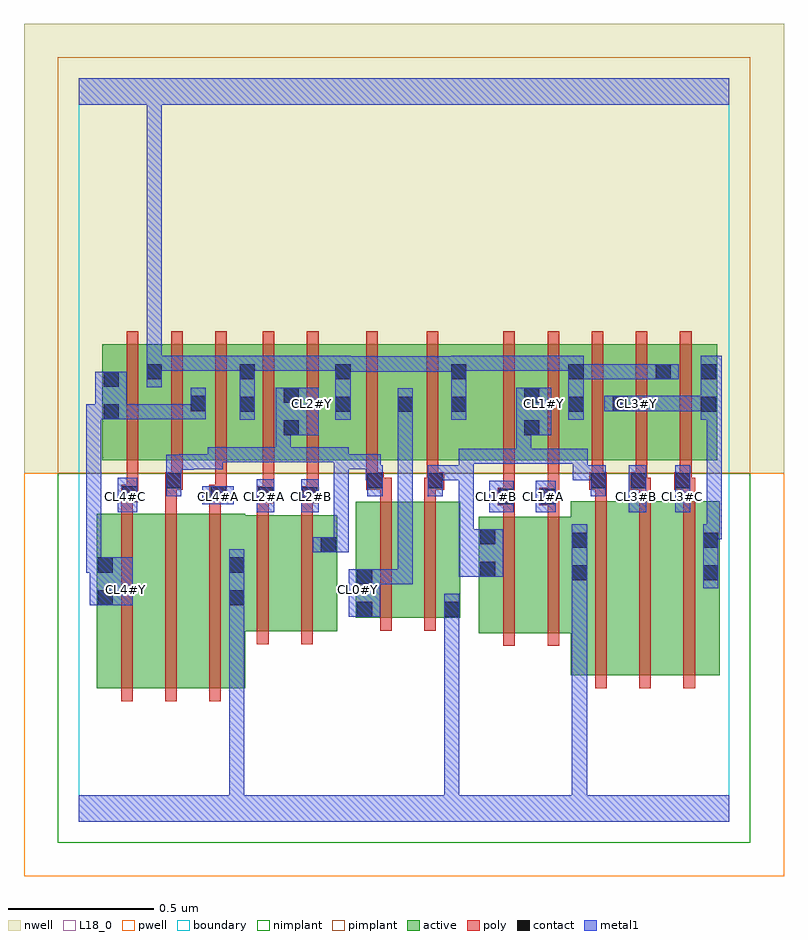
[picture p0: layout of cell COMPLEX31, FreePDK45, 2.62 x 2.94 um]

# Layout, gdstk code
import gdstk
lib = gdstk.Library(unit=1e-6, precision=1e-09)
def R(c, l, rs):  # rectangles x0, y0, x1, y1
    for r in rs: c.add(gdstk.rectangle(r[:2], r[2:], *l))
def A(c, l, x, y, w, h, nx, ny, dx, dy):  # array of equal rectangles
    R(c, l, [(x+i*dx, y+j*dy, x+i*dx+w, y+j*dy+h) for i in range(nx) for j in range(ny)])
active = (1, 0)
pwell = (2, 0)
nwell = (3, 0)
nimplant = (4, 0)
pimplant = (5, 0)
poly = (9, 0)
contact = (10, 0)
metal1 = (11, 0)
L18_0 = (18, 0)
boundary = (235, 0)

complex31 = lib.new_cell('COMPLEX31')
A(complex31, active, 1.53, 1.244, 0.06, 0.4, 3, 1, 0.152, 0)
R(complex31, active, [(0.062,0.46,0.242,1.06), (0.242,0.46,0.394,1.06), (0.394,0.46,0.574,1.06), (1.694,0.504,1.874,1.104), (1.694,0.504,1.754,1.05), (1.874,0.504,2.026,1.104), (2.026,0.504,2.206,1.104), (2.146,0.504,2.206,1.104), (0.062,0.556,0.122,1.06), (0.514,0.596,0.574,1), (1.378,0.65,1.558,1.05), (1.378,0.65,1.438,1.05), (1.558,0.65,1.754,1.05), (0.514,0.656,0.71,1.056), (0.71,0.656,0.89,1.056), (0.954,0.702,1.134,1.102), (0.954,0.702,1.014,1.102), (1.134,0.702,1.314,1.102), (1.254,0.702,1.314,1.102), (0.83,0.756,0.89,1.056), (0.082,1.244,0.142,1.644), (0.082,1.244,0.29,1.644), (0.23,1.244,0.29,1.644), (0.23,1.244,0.442,1.644), (0.382,1.244,0.442,1.644), (0.382,1.244,0.61,1.644), (0.55,1.244,0.61,1.644), (0.55,1.244,0.762,1.644), (0.702,1.244,0.762,1.644), (0.702,1.244,0.94,1.644), (0.88,1.244,0.94,1.644), (0.88,1.244,1.154,1.644), (1.094,1.244,1.154,1.644), (1.094,1.244,1.338,1.644), (1.278,1.244,1.338,1.644), (1.278,1.244,1.59,1.644), (1.53,1.244,1.742,1.644), (1.682,1.244,1.894,1.644), (1.834,1.244,2.042,1.644), (1.982,1.244,2.042,1.644), (1.982,1.244,2.198,1.644), (2.138,1.244,2.198,1.644)])
R(complex31, pwell, [(-0.188,-0.188,2.428,1.2)])
R(complex31, nwell, [(-0.188,1.2,2.428,2.748)])
R(complex31, nimplant, [(-0.072,-0.072,2.312,1.2)])
R(complex31, pimplant, [(-0.072,1.2,2.312,2.632)])
A(complex31, poly, 0.146, 0.416, 0.04, 0.688, 3, 1, 0.152, 0)
A(complex31, poly, 1.778, 0.46, 0.04, 0.688, 3, 1, 0.152, 0)
A(complex31, poly, 1.778, 1.108, 0.04, 0.076, 3, 1, 0.152, 0)
A(complex31, poly, 1.766, 1.164, 0.04, 0.076, 3, 1, 0.152, 0)
A(complex31, poly, 0.166, 1.2, 0.04, 0.488, 3, 1, 0.152, 0)
A(complex31, poly, 1.462, 1.2, 0.04, 0.488, 5, 1, 0.152, 0)
R(complex31, poly, [(1.462,0.606,1.502,1.094), (1.614,0.606,1.654,1.094), (0.614,0.612,0.654,1.1), (0.766,0.612,0.806,1.1), (1.038,0.658,1.078,1.146), (1.19,0.658,1.23,1.146), (1.462,1.054,1.502,1.13), (1.614,1.054,1.654,1.13), (0.614,1.06,0.654,1.136), (0.766,1.06,0.806,1.136), (0.146,1.064,0.186,1.14), (0.298,1.064,0.338,1.184), (0.45,1.064,0.49,1.14), (1.442,1.09,1.502,1.15), (1.586,1.09,1.654,1.15), (0.614,1.096,0.674,1.156), (0.766,1.096,0.826,1.156), (0.146,1.1,0.206,1.16), (0.45,1.1,0.51,1.16), (1.038,1.106,1.078,1.184), (1.19,1.106,1.23,1.184), (1.462,1.11,1.502,1.15), (1.462,1.11,1.502,1.15), (1.462,1.11,1.502,1.24), (1.614,1.11,1.654,1.15), (1.614,1.11,1.654,1.15), (1.614,1.11,1.654,1.24), (0.634,1.116,0.674,1.156), (0.634,1.116,0.674,1.156), (0.634,1.116,0.674,1.24), (0.786,1.116,0.826,1.156), (0.786,1.116,0.826,1.156), (0.786,1.116,0.826,1.24), (0.166,1.12,0.206,1.16), (0.166,1.12,0.206,1.16), (0.166,1.12,0.206,1.24), (0.47,1.12,0.51,1.16), (0.47,1.12,0.51,1.16), (0.47,1.12,0.51,1.24), (0.298,1.144,0.338,1.184), (0.298,1.144,0.338,1.184), (0.298,1.144,0.358,1.204), (0.99,1.144,1.05,1.204), (1.01,1.144,1.05,1.184), (1.01,1.144,1.078,1.184), (1.19,1.144,1.238,1.184), (1.198,1.144,1.238,1.184), (1.198,1.144,1.258,1.204), (1.758,1.144,1.818,1.204), (1.778,1.144,1.818,1.184), (1.778,1.144,1.818,1.184), (1.898,1.144,1.958,1.204), (1.918,1.144,1.958,1.184), (1.918,1.144,1.97,1.184), (2.05,1.144,2.11,1.204), (2.07,1.144,2.11,1.184), (2.07,1.144,2.122,1.184), (0.318,1.164,0.358,1.24), (0.99,1.164,1.03,1.24), (1.198,1.164,1.238,1.24), (0.634,1.2,0.674,1.688), (0.786,1.2,0.826,1.688), (0.99,1.2,1.03,1.688), (1.198,1.2,1.238,1.688)])
R(complex31, contact, [(0.958,0.706,1.01,0.758), (1.258,0.706,1.31,0.758), (0.066,0.746,0.118,0.798), (0.518,0.746,0.57,0.798), (0.958,0.818,1.01,0.87), (1.698,0.832,1.75,0.884), (2.15,0.832,2.202,0.884), (1.382,0.844,1.434,0.896), (0.066,0.858,0.118,0.91), (0.518,0.858,0.57,0.91), (0.834,0.928,0.886,0.98), (1.698,0.944,1.75,0.996), (2.15,0.944,2.202,0.996), (1.382,0.956,1.434,1.008), (1.446,1.094,1.498,1.146), (1.59,1.094,1.642,1.146), (0.618,1.1,0.67,1.152), (0.77,1.1,0.822,1.152), (0.15,1.104,0.202,1.156), (0.454,1.104,0.506,1.156), (0.302,1.148,0.354,1.2), (0.994,1.148,1.046,1.2), (1.202,1.148,1.254,1.2), (1.762,1.148,1.814,1.2), (1.902,1.148,1.954,1.2), (2.054,1.148,2.106,1.2), (0.706,1.33,0.758,1.382), (1.534,1.33,1.586,1.382), (0.086,1.386,0.138,1.438), (0.554,1.412,0.606,1.464), (0.884,1.412,0.936,1.464), (1.098,1.412,1.15,1.464), (1.282,1.412,1.334,1.464), (1.686,1.412,1.738,1.464), (2.142,1.412,2.194,1.464), (0.386,1.414,0.438,1.466), (1.838,1.414,1.89,1.466), (0.706,1.442,0.758,1.494), (1.534,1.442,1.586,1.494), (0.086,1.498,0.138,1.55), (0.234,1.524,0.286,1.576), (0.554,1.524,0.606,1.576), (0.884,1.524,0.936,1.576), (1.282,1.524,1.334,1.576), (1.686,1.524,1.738,1.576), (1.986,1.524,2.038,1.576), (2.142,1.524,2.194,1.576)])
R(complex31, metal1, [(0,0,2.24,0.092), (0.518,0.04,0.57,0.092), (0.518,0.04,0.57,0.092), (0.518,0.04,0.57,0.092), (0.518,0.04,0.57,0.092), (0.518,0.04,0.57,0.092), (0.518,0.04,0.57,0.092), (0.518,0.04,0.57,0.77), (1.258,0.04,1.31,0.092), (1.258,0.04,1.31,0.092), (1.258,0.04,1.31,0.092), (1.258,0.04,1.31,0.092), (1.258,0.04,1.31,0.092), (1.258,0.04,1.31,0.092), (1.258,0.04,1.31,0.092), (1.258,0.04,1.31,0.092), (1.258,0.04,1.31,0.092), (1.258,0.04,1.31,0.092), (1.258,0.04,1.31,0.092), (1.258,0.04,1.31,0.092), (1.258,0.04,1.31,0.73), (1.698,0.04,1.75,0.092), (1.698,0.04,1.75,0.092), (1.698,0.04,1.75,0.092), (1.698,0.04,1.75,0.092), (1.698,0.04,1.75,0.092), (1.698,0.04,1.75,0.092), (1.698,0.04,1.75,0.856), (1.258,0.678,1.31,0.786), (0.93,0.706,1.038,0.87), (0.518,0.718,0.57,0.77), (0.518,0.718,0.57,0.77), (0.518,0.718,0.57,0.938), (0.038,0.746,0.186,0.91), (1.698,0.804,1.75,0.856), (1.698,0.804,1.75,0.856), (1.698,0.804,1.75,1.024), (2.15,0.804,2.202,1.024), (0.986,0.818,1.038,0.87), (0.986,0.818,1.04,0.87), (0.988,0.818,1.04,0.87), (0.988,0.818,1.04,0.87), (0.988,0.818,1.04,0.87), (0.988,0.818,1.04,0.87), (0.988,0.818,1.046,0.87), (0.994,0.818,1.046,0.87), (0.994,0.818,1.15,0.87), (1.098,0.818,1.15,0.87), (1.098,0.818,1.15,1.436), (1.308,0.844,1.462,1.008), (0.026,0.858,0.078,0.91), (0.026,0.858,0.078,0.91), (0.026,0.858,0.078,0.91), (0.026,0.858,0.078,0.91), (0.026,0.858,0.09,0.91), (0.026,0.858,0.078,1.438), (0.038,0.858,0.09,0.91), (0.806,0.928,0.93,0.98), (0.878,0.928,0.93,0.98), (0.878,0.928,0.93,0.98), (0.878,0.928,0.93,1.266), (1.308,0.956,1.36,1.008), (1.308,0.956,1.36,1.008), (1.308,0.956,1.36,1.228), (2.15,0.972,2.202,1.024), (2.15,0.972,2.214,1.024), (2.162,0.972,2.214,1.436), (0.134,1.066,0.202,1.184), (0.614,1.066,0.674,1.18), (0.766,1.066,0.826,1.18), (1.414,1.066,1.498,1.174), (1.574,1.066,1.642,1.174), (1.894,1.066,1.954,1.228), (2.054,1.066,2.106,1.228), (0.426,1.094,0.534,1.156), (0.302,1.12,0.354,1.264), (0.994,1.12,1.046,1.228), (1.202,1.12,1.254,1.228), (1.762,1.12,1.814,1.228), (0.988,1.176,1.046,1.228), (0.988,1.176,1.04,1.266), (1.202,1.176,1.31,1.228), (1.258,1.176,1.31,1.228), (1.258,1.176,1.36,1.228), (1.308,1.176,1.36,1.284), (1.7,1.176,1.814,1.228), (1.7,1.176,1.752,1.284), (0.302,1.212,0.396,1.264), (0.344,1.212,0.396,1.266), (0.344,1.214,0.496,1.266), (0.444,1.214,0.496,1.29), (0.878,1.214,1.04,1.266), (0.878,1.214,0.93,1.29), (1.308,1.232,1.444,1.284), (1.392,1.232,1.444,1.284), (1.392,1.232,1.558,1.284), (1.506,1.232,1.558,1.284), (1.506,1.232,1.558,1.284), (1.506,1.232,1.558,1.284), (1.506,1.232,1.752,1.284), (1.506,1.232,1.558,1.382), (0.444,1.238,0.62,1.29), (0.568,1.238,0.62,1.29), (0.568,1.238,0.62,1.29), (0.568,1.238,0.62,1.29), (0.568,1.238,0.73,1.29), (0.678,1.238,0.73,1.29), (0.678,1.238,0.73,1.29), (0.678,1.238,0.73,1.29), (0.678,1.238,0.93,1.29), (0.678,1.238,0.73,1.382), (0.678,1.33,0.73,1.382), (0.678,1.33,0.73,1.382), (0.678,1.33,0.826,1.494), (1.506,1.33,1.558,1.382), (1.506,1.33,1.558,1.382), (1.506,1.33,1.626,1.494), (0.554,1.384,0.606,1.604), (0.884,1.384,0.936,1.604), (1.098,1.384,1.15,1.436), (1.098,1.384,1.15,1.436), (1.098,1.384,1.15,1.492), (1.282,1.384,1.334,1.604), (1.686,1.384,1.738,1.604), (2.142,1.384,2.214,1.604), (2.162,1.384,2.214,1.436), (2.162,1.384,2.214,1.436), (0.026,1.386,0.078,1.438), (0.026,1.386,0.078,1.438), (0.026,1.386,0.11,1.438), (0.058,1.386,0.11,1.438), (0.058,1.386,0.166,1.55), (0.114,1.386,0.166,1.438), (0.114,1.386,0.166,1.438), (0.114,1.386,0.276,1.438), (0.224,1.386,0.276,1.438), (0.224,1.386,0.276,1.438), (0.224,1.386,0.276,1.438), (0.224,1.386,0.438,1.438), (0.386,1.386,0.438,1.494), (1.81,1.414,1.974,1.466), (1.848,1.414,1.9,1.466), (1.848,1.414,1.9,1.466), (1.848,1.414,1.9,1.466), (1.848,1.414,1.9,1.466), (1.848,1.414,2.084,1.466), (2.032,1.414,2.084,1.466), (2.032,1.414,2.194,1.466), (2.142,1.414,2.194,1.466), (2.142,1.414,2.194,1.466), (0.234,1.496,0.286,1.604), (1.686,1.524,1.738,1.576), (1.686,1.524,1.738,1.576), (1.686,1.524,1.9,1.576), (1.848,1.524,1.9,1.576), (1.848,1.524,1.9,1.576), (1.848,1.524,1.9,1.576), (1.848,1.524,2.01,1.576), (1.958,1.524,2.066,1.576), (0.884,1.55,0.936,1.602), (0.884,1.55,0.936,1.602), (0.884,1.55,1.046,1.602), (0.994,1.55,1.046,1.602), (0.994,1.55,1.2,1.602), (1.148,1.55,1.2,1.602), (1.148,1.55,1.2,1.602), (1.148,1.55,1.2,1.602), (1.148,1.55,1.334,1.602), (0.234,1.552,0.286,1.604), (0.234,1.552,0.286,1.604), (0.234,1.552,0.286,1.604), (0.234,1.552,0.286,1.604), (0.234,1.552,0.286,1.604), (0.234,1.552,0.286,1.604), (0.234,1.552,0.286,1.604), (0.234,1.552,0.286,1.604), (0.234,1.552,0.396,1.604), (0.234,1.552,0.286,2.52), (0.344,1.552,0.396,1.604), (0.344,1.552,0.496,1.604), (0.444,1.552,0.496,1.604), (0.444,1.552,0.606,1.604), (0.554,1.552,0.606,1.604), (0.554,1.552,0.606,1.604), (0.554,1.552,0.748,1.604), (0.696,1.552,0.748,1.604), (0.696,1.552,0.748,1.604), (0.696,1.552,0.748,1.604), (0.696,1.552,0.936,1.604), (1.282,1.552,1.448,1.604), (1.396,1.552,1.448,1.604), (1.396,1.552,1.448,1.604), (1.396,1.552,1.448,1.604), (1.396,1.552,1.558,1.604), (1.506,1.552,1.558,1.604), (1.506,1.552,1.558,1.604), (1.506,1.552,1.558,1.604), (1.506,1.552,1.738,1.604), (0,2.468,2.24,2.56), (0.234,2.468,0.286,2.52), (0.234,2.468,0.286,2.52), (0.234,2.468,0.286,2.52), (0.234,2.468,0.286,2.52), (0.234,2.468,0.286,2.52), (0.234,2.468,0.286,2.52), (0.234,2.468,0.286,2.52), (0.234,2.468,0.286,2.52), (0.234,2.468,0.286,2.52), (0.234,2.468,0.286,2.52)])
A(complex31, L18_0, 0.454, 1.094, 0.052, 0.052, 3, 1, 0.16, 0)
R(complex31, L18_0, [(0,0,2.24,0.092), (0.518,0.04,0.57,0.092), (0.518,0.04,0.57,0.092), (0.518,0.04,0.57,0.092), (0.518,0.04,0.57,0.092), (0.518,0.04,0.57,0.092), (0.518,0.04,0.57,0.092), (0.518,0.04,0.57,0.77), (1.258,0.04,1.31,0.092), (1.258,0.04,1.31,0.092), (1.258,0.04,1.31,0.092), (1.258,0.04,1.31,0.092), (1.258,0.04,1.31,0.092), (1.258,0.04,1.31,0.092), (1.258,0.04,1.31,0.092), (1.258,0.04,1.31,0.092), (1.258,0.04,1.31,0.092), (1.258,0.04,1.31,0.092), (1.258,0.04,1.31,0.092), (1.258,0.04,1.31,0.092), (1.258,0.04,1.31,0.73), (1.698,0.04,1.75,0.092), (1.698,0.04,1.75,0.092), (1.698,0.04,1.75,0.092), (1.698,0.04,1.75,0.092), (1.698,0.04,1.75,0.092), (1.698,0.04,1.75,0.092), (1.698,0.04,1.75,0.856), (1.258,0.678,1.31,0.786), (0.93,0.706,1.038,0.87), (0.518,0.718,0.57,0.77), (0.518,0.718,0.57,0.77), (0.518,0.718,0.57,0.938), (0.038,0.746,0.186,0.91), (0.134,0.774,0.186,0.826), (0.934,0.774,0.986,0.826), (1.698,0.804,1.75,0.856), (1.698,0.804,1.75,0.856), (1.698,0.804,1.75,1.024), (2.15,0.804,2.202,1.024), (0.986,0.818,1.038,0.87), (0.986,0.818,1.04,0.87), (0.988,0.818,1.04,0.87), (0.988,0.818,1.04,0.87), (0.988,0.818,1.04,0.87), (0.988,0.818,1.04,0.87), (0.988,0.818,1.046,0.87), (0.994,0.818,1.046,0.87), (0.994,0.818,1.15,0.87), (1.098,0.818,1.15,0.87), (1.098,0.818,1.15,1.436), (1.308,0.844,1.462,1.008), (0.026,0.858,0.09,0.91), (0.026,0.858,0.078,0.91), (0.026,0.858,0.078,0.91), (0.026,0.858,0.078,0.91), (0.026,0.858,0.078,0.91), (0.026,0.858,0.078,1.438), (0.038,0.858,0.09,0.91), (0.806,0.928,0.93,0.98), (0.878,0.928,0.93,0.98), (0.878,0.928,0.93,0.98), (0.878,0.928,0.93,1.266), (1.308,0.956,1.36,1.008), (1.308,0.956,1.36,1.008), (1.308,0.956,1.36,1.228), (2.15,0.972,2.214,1.024), (2.15,0.972,2.202,1.024), (2.162,0.972,2.214,1.436), (0.134,1.066,0.202,1.184), (0.614,1.066,0.674,1.18), (0.766,1.066,0.826,1.18), (1.414,1.066,1.498,1.174), (1.574,1.066,1.642,1.174), (1.894,1.066,1.954,1.228), (2.054,1.066,2.106,1.228), (0.134,1.094,0.186,1.146), (0.426,1.094,0.534,1.156), (1.414,1.094,1.466,1.146), (1.574,1.094,1.626,1.146), (1.894,1.094,1.946,1.146), (2.054,1.094,2.106,1.146), (0.302,1.12,0.354,1.264), (0.994,1.12,1.046,1.228), (1.202,1.12,1.254,1.228), (1.762,1.12,1.814,1.228), (0.988,1.176,1.04,1.266), (0.988,1.176,1.046,1.228), (1.202,1.176,1.31,1.228), (1.258,1.176,1.31,1.228), (1.258,1.176,1.36,1.228), (1.308,1.176,1.36,1.284), (1.7,1.176,1.752,1.284), (1.7,1.176,1.814,1.228), (0.302,1.212,0.396,1.264), (0.344,1.212,0.396,1.266), (0.344,1.214,0.496,1.266), (0.444,1.214,0.496,1.29), (0.878,1.214,1.04,1.266), (0.878,1.214,0.93,1.29), (1.308,1.232,1.444,1.284), (1.392,1.232,1.444,1.284), (1.392,1.232,1.558,1.284), (1.506,1.232,1.558,1.284), (1.506,1.232,1.558,1.284), (1.506,1.232,1.558,1.284), (1.506,1.232,1.558,1.382), (1.506,1.232,1.752,1.284), (0.444,1.238,0.62,1.29), (0.568,1.238,0.62,1.29), (0.568,1.238,0.62,1.29), (0.568,1.238,0.62,1.29), (0.568,1.238,0.73,1.29), (0.678,1.238,0.73,1.29), (0.678,1.238,0.73,1.29), (0.678,1.238,0.73,1.29), (0.678,1.238,0.73,1.382), (0.678,1.238,0.93,1.29), (0.678,1.33,0.826,1.494), (0.678,1.33,0.73,1.382), (0.678,1.33,0.73,1.382), (1.506,1.33,1.558,1.382), (1.506,1.33,1.558,1.382), (1.506,1.33,1.626,1.494), (0.554,1.384,0.606,1.604), (0.884,1.384,0.936,1.604), (1.098,1.384,1.15,1.436), (1.098,1.384,1.15,1.436), (1.098,1.384,1.15,1.492), (1.282,1.384,1.334,1.604), (1.686,1.384,1.738,1.604), (2.142,1.384,2.214,1.604), (2.162,1.384,2.214,1.436), (2.162,1.384,2.214,1.436), (0.026,1.386,0.078,1.438), (0.026,1.386,0.078,1.438), (0.026,1.386,0.11,1.438), (0.058,1.386,0.11,1.438), (0.058,1.386,0.166,1.55), (0.114,1.386,0.166,1.438), (0.114,1.386,0.166,1.438), (0.114,1.386,0.276,1.438), (0.224,1.386,0.276,1.438), (0.224,1.386,0.276,1.438), (0.224,1.386,0.276,1.438), (0.224,1.386,0.438,1.438), (0.386,1.386,0.438,1.494), (0.774,1.414,0.826,1.466), (1.574,1.414,1.626,1.466), (1.81,1.414,1.974,1.466), (1.848,1.414,1.9,1.466), (1.848,1.414,1.9,1.466), (1.848,1.414,1.9,1.466), (1.848,1.414,1.9,1.466), (1.848,1.414,2.084,1.466), (1.894,1.414,1.946,1.466), (2.032,1.414,2.084,1.466), (2.032,1.414,2.194,1.466), (2.142,1.414,2.194,1.466), (2.142,1.414,2.194,1.466), (0.234,1.496,0.286,1.604), (1.686,1.524,1.738,1.576), (1.686,1.524,1.738,1.576), (1.686,1.524,1.9,1.576), (1.848,1.524,1.9,1.576), (1.848,1.524,1.9,1.576), (1.848,1.524,1.9,1.576), (1.848,1.524,2.01,1.576), (1.958,1.524,2.066,1.576), (0.884,1.55,0.936,1.602), (0.884,1.55,0.936,1.602), (0.884,1.55,1.046,1.602), (0.994,1.55,1.046,1.602), (0.994,1.55,1.2,1.602), (1.148,1.55,1.2,1.602), (1.148,1.55,1.2,1.602), (1.148,1.55,1.2,1.602), (1.148,1.55,1.334,1.602), (0.234,1.552,0.286,1.604), (0.234,1.552,0.286,1.604), (0.234,1.552,0.286,1.604), (0.234,1.552,0.286,1.604), (0.234,1.552,0.286,1.604), (0.234,1.552,0.286,1.604), (0.234,1.552,0.286,1.604), (0.234,1.552,0.286,1.604), (0.234,1.552,0.396,1.604), (0.234,1.552,0.286,2.52), (0.344,1.552,0.396,1.604), (0.344,1.552,0.496,1.604), (0.444,1.552,0.496,1.604), (0.444,1.552,0.606,1.604), (0.554,1.552,0.606,1.604), (0.554,1.552,0.606,1.604), (0.554,1.552,0.748,1.604), (0.696,1.552,0.748,1.604), (0.696,1.552,0.748,1.604), (0.696,1.552,0.748,1.604), (0.696,1.552,0.936,1.604), (1.282,1.552,1.448,1.604), (1.396,1.552,1.448,1.604), (1.396,1.552,1.448,1.604), (1.396,1.552,1.448,1.604), (1.396,1.552,1.558,1.604), (1.506,1.552,1.558,1.604), (1.506,1.552,1.558,1.604), (1.506,1.552,1.558,1.604), (1.506,1.552,1.738,1.604), (0,2.468,2.24,2.56), (0.234,2.468,0.286,2.52), (0.234,2.468,0.286,2.52), (0.234,2.468,0.286,2.52), (0.234,2.468,0.286,2.52), (0.234,2.468,0.286,2.52), (0.234,2.468,0.286,2.52), (0.234,2.468,0.286,2.52), (0.234,2.468,0.286,2.52), (0.234,2.468,0.286,2.52), (0.234,2.468,0.286,2.52)])
R(complex31, boundary, [(0,0,2.24,2.56)])
complex31.add(gdstk.Label('CL0#Y', (0.96,0.8), layer=11, texttype=0))
complex31.add(gdstk.Label('CL1#A', (1.6,1.12), layer=11, texttype=0))
complex31.add(gdstk.Label('CL1#B', (1.44,1.12), layer=11, texttype=0))
complex31.add(gdstk.Label('CL1#Y', (1.6,1.44), layer=11, texttype=0))
complex31.add(gdstk.Label('CL2#A', (0.64,1.12), layer=11, texttype=0))
complex31.add(gdstk.Label('CL2#B', (0.8,1.12), layer=11, texttype=0))
complex31.add(gdstk.Label('CL2#Y', (0.8,1.44), layer=11, texttype=0))
complex31.add(gdstk.Label('CL3#B', (1.92,1.12), layer=11, texttype=0))
complex31.add(gdstk.Label('CL3#C', (2.08,1.12), layer=11, texttype=0))
complex31.add(gdstk.Label('CL3#Y', (1.92,1.44), layer=11, texttype=0))
complex31.add(gdstk.Label('CL4#A', (0.48,1.12), layer=11, texttype=0))
complex31.add(gdstk.Label('CL4#C', (0.16,1.12), layer=11, texttype=0))
complex31.add(gdstk.Label('CL4#Y', (0.16,0.8), layer=11, texttype=0))

lib.write_gds('COMPLEX31.gds')
